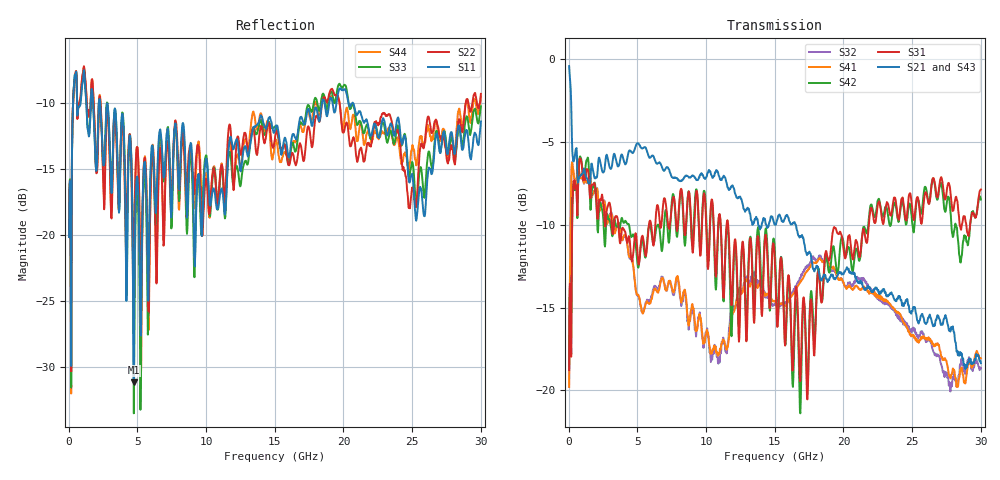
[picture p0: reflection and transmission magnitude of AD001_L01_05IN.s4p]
! MS46524B
! 1918203/M1: 91020113/M2: 91020112
! 9/9/2020 2:28:19 PM
! C:\USERS\ANRITSUUSER\DESKTOP\2118 -5.S4P
! CHANNEL.1
! TR.MEASUREMENT
! CORRECTED.DATA
# GHZ S RI R 50.0
! FREQ.GHZ  S11RE  S11IM  S12RE  S12IM  S13RE  S13IM  S14RE  S14IM
!  S21RE  S21IM  S22RE  S22IM  S23RE  S23IM  S24RE  S24IM
!  S31RE  S31IM  S32RE  S32IM  S33RE  S33IM  S34RE  S34IM
!  S41RE  S41IM  S42RE  S42IM  S43RE  S43IM  S44RE  S44IM
!; PortSelection: Port_1234
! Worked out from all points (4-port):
!   1000 points, 30 MHz to 30 GHz, reference 50 ohm
!   strongest paths, dB at 30 MHz, 7.53 GHz, 15.03 GHz, 22.53 GHz, 30 GHz:
!     S21: -0.4, -7.1, -10.0, -13.9, -18.4
!     S43: -0.4, -7.2, -9.9, -14.1, -18.4
!     S31: -18.8, -8.7, -12.8, -8.6, -7.9
!     S42: -18.8, -8.4, -12.0, -8.5, -8.5
!     S41: -19.8, -13.9, -14.6, -14.4, -18.1
!     S32: -19.8, -13.9, -14.8, -14.3, -18.7
!   lowest |S11| = -31.2 dB at 4.74 GHz (marker M1), VSWR 1.06, Z = 47.3 + j0.0219 ohm
!   |S11| at or under -10 dB: 1.779 GHz to 2.2 GHz (421.3 MHz wide, 21.2 % of centre); 2.285 GHz to 18.43 GHz (16.15 GHz wide, 156 % of centre); 20.7 GHz to end of sweep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
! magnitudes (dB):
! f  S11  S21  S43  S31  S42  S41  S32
! 30 MHz  -20.2  -0.4  -0.4  -18.8  -18.8  -19.8  -19.8
! 1.08 GHz  -7.7  -6.7  -6.7  -7.2  -7.1  -7.4  -7.4
! 4.47 GHz  -12.6  -5.5  -5.5  -11.2  -10.4  -11.9  -12.1
! 4.74 GHz  -31.2  -5.6  -5.6  -11.3  -10.6  -12.8  -12.8
! 6.66 GHz  -12.0  -6.3  -6.4  -10.1  -10.7  -13.6  -13.4
! 16.86 GHz  -11.1  -10.7  -10.8  -19.4  -21.4  -13.5  -13.2
! 30 GHz  -11.4  -18.4  -18.4  -7.9  -8.5  -18.1  -18.7
